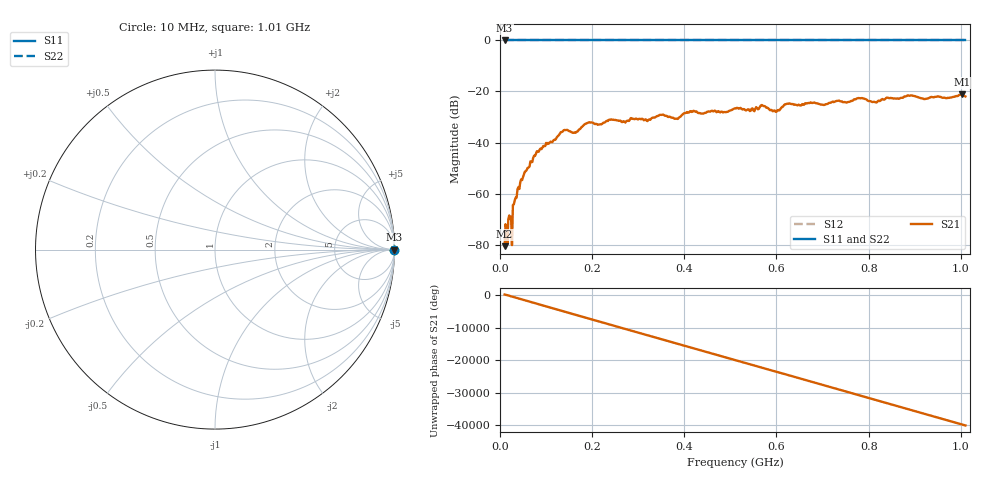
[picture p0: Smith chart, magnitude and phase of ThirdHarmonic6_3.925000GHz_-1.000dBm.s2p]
! 8/17/2025 1:51:39 PM
! C:\ANRITSUVNA\TEMP\TEMP.S2P
! CHANNEL.1
! TR.MEASUREMENT
! RAW.DATA
! RF.CORRECTION.OFF
! AVERAGING.OFF
! IF.BANDWIDTH: 5KHZ
! SWEEPTYPE:  FREQ.SWEEP(Linear)
! Reference Plane Port Info
! PORT:  PORT1  PORT2
! DISTANCE:  0  m  0  m
! TIME:  0  s  0  s
! PHASE.OFFSET:  0  deg.  0  deg.
! LOSS:  0  dB  0  dB
! REF.LOSS:  0  dB  0  dB
! REF.FREQ:  0  Hz  0  Hz
! Power Info
! POWER:  -20  dBm  -20  dBm
! EFF.POWER:  -20  dBm  -20  dBm
! SOURCE.ATTEN:  0  dB  0  dB
! TEST.ATTEN:  0  dB  0  dB
# GHZ S RI R 50.0
! FREQ.GHZ  S11RE  S11IM  S21RE  S21IM  S12RE  S12IM  S22RE  S22IM
!; PortSelection: Port_12
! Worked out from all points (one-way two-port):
!   501 points, 10 MHz to 1.01 GHz, reference 50 ohm
!   highest |S21| = -21.17 dB at 1.002 GHz (marker M1); lowest = -80.6 dB at 10 MHz (marker M2)
!   lowest |S11| = 0.0 dB at 10 MHz (marker M3)
!   |S11| at or under -10 dB: nowhere
!   |S22| runs from 0.0 to 0.0 dB; largest |S21 - S12| = 1.1
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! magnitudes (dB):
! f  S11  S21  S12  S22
! 10 MHz  0.0  -80.6  0.0  0.0
! 12 MHz  0.0  -72.0  0.0  0.0
! 16 MHz  0.0  -79.5  0.0  0.0
! 26 MHz  0.0  -80.2  0.0  0.0
! 30 MHz  0.0  -64.3  0.0  0.0
! 32 MHz  0.0  -62.7  0.0  0.0
! 42 MHz  0.0  -58.2  0.0  0.0
! 76 MHz  0.0  -45.3  0.0  0.0
! 136 MHz  0.0  -35.7  0.0  0.0
! 162 MHz  0.0  -36.0  0.0  0.0
! 178 MHz  0.0  -33.8  0.0  0.0
! 344 MHz  0.0  -29.5  0.0  0.0
! 382 MHz  0.0  -30.6  0.0  0.0
! 416 MHz  0.0  -28.0  0.0  0.0
! 510 MHz  0.0  -26.6  0.0  0.0
! 570 MHz  0.0  -25.5  0.0  0.0
! 596 MHz  0.0  -27.5  0.0  0.0
! 622 MHz  0.0  -24.9  0.0  0.0
! 678 MHz  0.0  -24.5  0.0  0.0
! 844 MHz  0.0  -22.6  0.0  0.0
! 1.002 GHz  0.0  -21.2  0.0  0.0
! 1.01 GHz  0.0  -21.9  0.0  0.0
